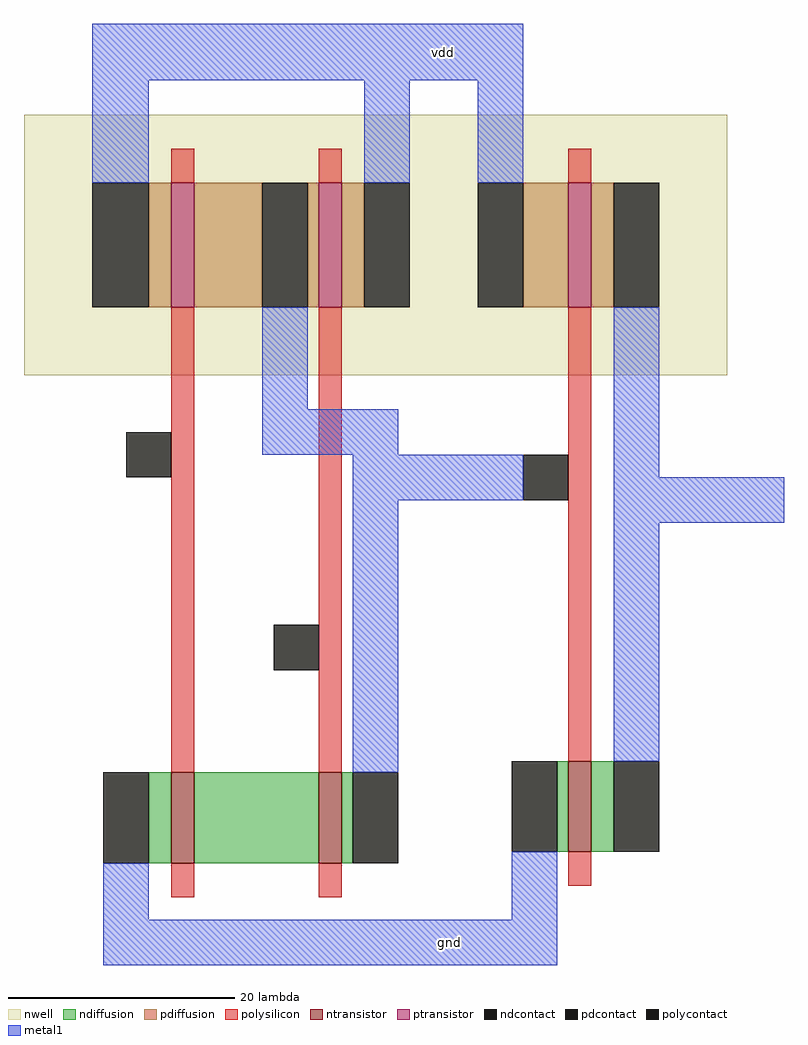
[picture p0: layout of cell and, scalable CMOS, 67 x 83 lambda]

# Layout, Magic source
magic
tech scmos
<< nwell >>
rect -52 30 10 53
<< ntransistor >>
rect -39 -13 -37 -5
rect -26 -13 -24 -5
rect -4 -12 -2 -4
<< ptransistor >>
rect -39 36 -37 47
rect -26 36 -24 47
rect -4 36 -2 47
<< ndiffusion >>
rect -41 -13 -39 -5
rect -37 -13 -26 -5
rect -24 -13 -23 -5
rect -5 -12 -4 -4
rect -2 -12 0 -4
<< pdiffusion >>
rect -41 36 -39 47
rect -37 36 -31 47
rect -27 36 -26 47
rect -24 36 -22 47
rect -8 36 -4 47
rect -2 36 0 47
<< ndcontact >>
rect -45 -13 -41 -5
rect -23 -13 -19 -5
rect -9 -12 -5 -4
rect 0 -12 4 -4
<< pdcontact >>
rect -46 36 -41 47
rect -31 36 -27 47
rect -22 36 -18 47
rect -12 36 -8 47
rect 0 36 4 47
<< polysilicon >>
rect -39 47 -37 50
rect -26 47 -24 50
rect -4 47 -2 50
rect -39 -5 -37 36
rect -26 -5 -24 36
rect -4 -4 -2 36
rect -39 -16 -37 -13
rect -26 -16 -24 -13
rect -4 -15 -2 -12
<< polycontact >>
rect -43 21 -39 25
rect -30 4 -26 8
rect -8 19 -4 23
<< metal1 >>
rect -46 56 -8 61
rect -46 47 -41 56
rect -22 47 -18 56
rect -12 47 -8 56
rect -31 27 -27 36
rect -31 23 -19 27
rect -23 19 -8 23
rect 0 21 4 36
rect -23 -5 -19 19
rect 0 17 15 21
rect 0 -4 4 17
rect -45 -18 -41 -13
rect -9 -18 -5 -12
rect -45 -22 -5 -18
<< labels >>
rlabel metal1 -18 56 -12 61 5 vdd
rlabel metal1 -17 -22 -12 -18 1 gnd
<< end >>
